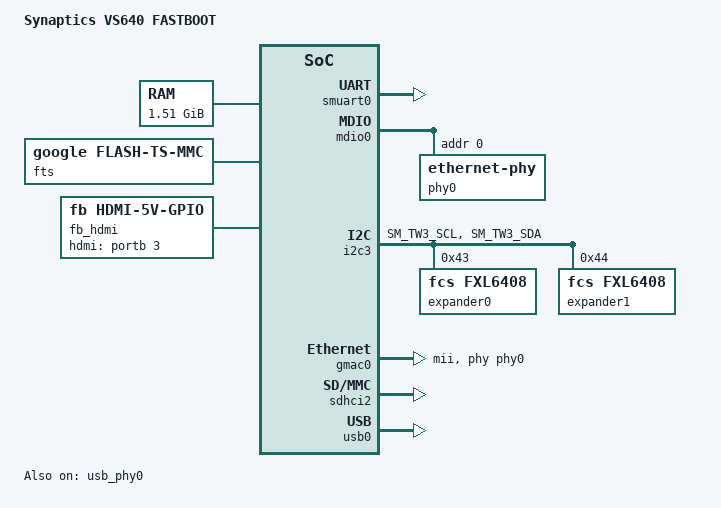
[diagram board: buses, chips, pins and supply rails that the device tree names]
/* SPDX-License-Identifier: GPL-2.0+ */
/*
 * Copyright (C) 2019 Synaptics Incorporated
 *
 * Author: Shaojun Feng <Shaojun.Feng@synaptics.com>
 *
 */

/dts-v1/;

#include "vs640.dtsi"
#include "include/dt-bindings/gpio/gpio.h"
#include "berlin-fastboot-gui.dtsi"

/ {
	model = "Synaptics VS640 FASTBOOT";
	compatible = "Synaptics,vs640", "Synaptics,asserial";
	fastboot,product-name = "vs640";

	memory {
		device_type = "memory";
		reg = <0 0x06a00000 0 0x60600000>;
	};

	fts {
		compatible = "google,flash-ts-mmc";
	};

	chosen {
                stdout-path = &smuart0;
        };

	fb_hdmi {
		compatible = "fb,hdmi-5v-gpio";
		hdmi-gpio = <&portb 3 GPIO_ACTIVE_HIGH>;
		output-high;
	};
};

&sysmgr_pinctrl {
	sm_i2c_tw3_pmux: sm_i2c_tw3_pmux {
		groups = "SM_TW3_SCL", "SM_TW3_SDA";
		function = "tw3";
	};
};

&CPU_SLEEP_0 {
	status = "disabled";
};

&smuart0 {
	status = "okay";
};

&mdio0 {
	phy0: ethernet-phy@0 {
		reg = <0>;
	};
};

&i2c3 {
	status = "okay";
	pinctrl-names = "default";
	pinctrl-0 = <&sm_i2c_tw3_pmux>;
	expander0: gpio@43 {
		compatible = "fcs,fxl6408";
		reg = <0x43>;
		gpio-controller;
		#gpio-cells = <2>;
	};

	expander1: gpio@44 {
		compatible = "fcs,fxl6408";
		reg = <0x44>;
		gpio-controller;
		#gpio-cells = <2>;
	};
};

&gmac0 {
	status = "okay";
	max-speed = <100>;
	phy-mode = "mii";
	phy-handle = <&phy0>;
	phy = <&phy0>;
};

&sdhci2 {
	status = "okay";
	max-frequency = <50000000>;
	cap-mmc-highspeed;
	1_8v-signalling;
};

&usb_phy0 {
	status = "okay";
};

&usb0 {
	status = "okay";
};
